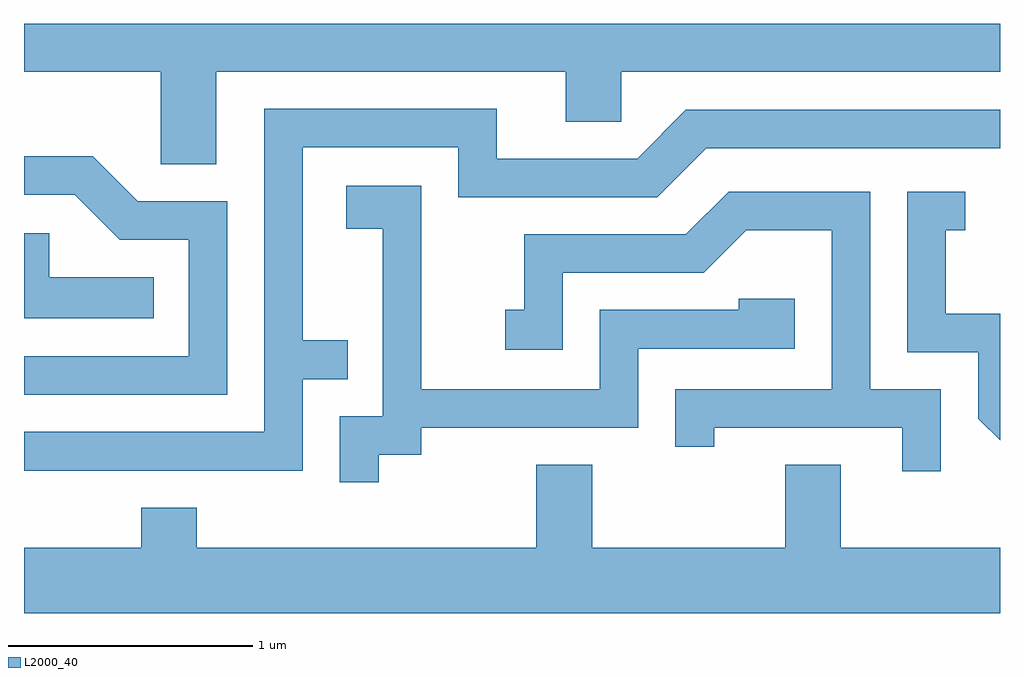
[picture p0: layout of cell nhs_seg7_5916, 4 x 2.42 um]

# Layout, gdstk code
import gdstk
lib = gdstk.Library(unit=1e-6, precision=1e-09)
def P(c, l, *ps):  # polygons
    for p in ps: c.add(gdstk.Polygon(p, *l))
L2000_40 = (2000, 40)

nhs_seg7_5916 = lib.new_cell('nhs_seg7_5916')
P(nhs_seg7_5916, L2000_40, [(366.399,1752.056),(367.831,1752.056),(367.831,1751.851),(368.059,1751.851),(368.059,1752.056),(369.611,1752.056),(369.611,1752.252),(365.611,1752.252),(365.611,1752.056),(366.171,1752.056),(366.171,1751.676),(366.399,1751.676)],
  [(366.754,1750.796),(366.938,1750.796),(366.938,1750.954),(366.754,1750.954),(366.754,1751.746),(367.391,1751.746),(367.391,1751.541),(368.207,1751.541),(368.407,1751.741),(369.611,1751.741),(369.611,1751.899),(368.324,1751.899),(368.124,1751.699),(367.549,1751.699),(367.549,1751.904),(366.596,1751.904),(366.596,1750.579),(365.611,1750.579),(365.611,1750.421),(366.754,1750.421)],
  [(366.444,1751.524),(366.077,1751.524),(365.892,1751.709),(365.611,1751.709),(365.611,1751.551),(365.819,1751.551),(366.004,1751.366),(366.286,1751.366),(366.286,1750.889),(365.611,1750.889),(365.611,1750.731),(366.444,1750.731)],
  [(367.064,1750.486),(367.239,1750.486),(367.239,1750.596),(368.129,1750.596),(368.129,1750.921),(368.769,1750.921),(368.769,1751.124),(368.541,1751.124),(368.541,1751.079),(367.971,1751.079),(367.971,1750.754),(367.239,1750.754),(367.239,1751.589),(366.931,1751.589),(366.931,1751.411),(367.081,1751.411),(367.081,1750.644),(366.906,1750.644),(366.906,1750.373),(367.064,1750.373)],
  [(369.369,1750.754),(369.079,1750.754),(369.079,1751.564),(368.499,1751.564),(368.324,1751.389),(367.661,1751.389),(367.661,1751.079),(367.583,1751.079),(367.583,1750.916),(367.819,1750.916),(367.819,1751.231),(368.397,1751.231),(368.572,1751.406),(368.921,1751.406),(368.921,1750.754),(368.281,1750.754),(368.281,1750.518),(368.439,1750.518),(368.439,1750.596),(369.211,1750.596),(369.211,1750.418),(369.369,1750.418)],
  [(369.611,1751.064),(369.389,1751.064),(369.389,1751.406),(369.468,1751.406),(369.468,1751.564),(369.231,1751.564),(369.231,1750.906),(369.521,1750.906),(369.521,1750.634),(369.611,1750.544)],
  [(366.143,1751.214),(365.714,1751.214),(365.714,1751.394),(365.611,1751.394),(365.611,1751.046),(366.143,1751.046)],
  [(368.731,1750.444),(368.731,1750.104),(367.939,1750.104),(367.939,1750.444),(367.711,1750.444),(367.711,1750.104),(366.319,1750.104),(366.319,1750.269),(366.091,1750.269),(366.091,1750.104),(365.611,1750.104),(365.611,1749.836),(369.611,1749.836),(369.611,1750.104),(368.959,1750.104),(368.959,1750.444)])

lib.write_gds('nhs_seg7_5916.gds')
